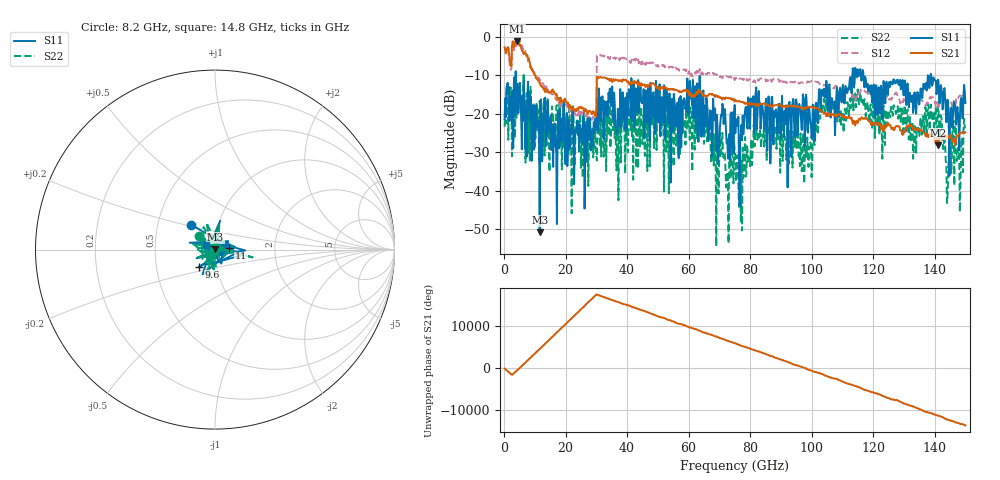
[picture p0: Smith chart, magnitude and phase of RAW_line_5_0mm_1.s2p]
!  2-Port S-parameters saved by WinCal
! VAR MeasName=S-Parameters (CALIBRATED_DATA) read from VNA (MS4647B)
! VAR MeasDate=27-Apr-22 15:17:07
! VAR NAME=RAW_line_5mm_1
! VAR FILENAME=RAW_line_5mm_1.S2P
! VAR DATE=27-Apr-22 15:17:07
! VAR PHYS_PORTS=1,2
! VAR ObjTypeName=DATASET
! VAR IndexType=Frequency
! VAR ChuckHeaterState=Unknown
! VAR ChuckTemp=NaN
! VAR ChuckTempUnits=Unknown
# Hz S RI R 50
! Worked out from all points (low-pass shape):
!   750 points, 200 MHz to 150 GHz, reference 50 ohm
!   highest |S21| = -1.05 dB at 4.2 GHz (marker M1); lowest = -28.3 dB at 141.2 GHz (marker M2)
!   |S21| within 3 dB of the highest: 652.1 MHz to 1.592 GHz (940.2 MHz wide, 83.8 % of centre); 2.537 GHz to 6.245 GHz (3.709 GHz wide, 84.5 % of centre)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
!   lowest |S11| = -50.8 dB at 11.6 GHz (marker M3), VSWR 1.01, Z = 50.2 + j0.174 ohm
!   |S11| at or under -10 dB: 3.827 GHz to 113.2 GHz (109.4 GHz wide, 187 % of centre); 116.9 GHz to 137.8 GHz (20.93 GHz wide, 16.4 % of centre); 138.9 GHz to end of sweep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
!   |S22| runs from -54.5 to -9.4 dB; largest |S21 - S12| = 1.7
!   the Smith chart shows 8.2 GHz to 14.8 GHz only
!   S11 on the Smith chart (normalised r, x): 8.2 GHz: 0.74, +0.21; 9.6 GHz: 0.82, -0.16; 11 GHz: 1.17, +0.02; 14.8 GHz: 0.90, +0.04
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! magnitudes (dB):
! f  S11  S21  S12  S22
! 200 MHz  -21.4  -2.7  -2.6  -23.4
! 4.2 GHz  -12.1  -1.0  -1.7  -12.5
! 8.2 GHz  -14.5  -6.2  -6.4  -18.6
! 9.6 GHz  -17.6  -9.2  -9.1  -25.9
! 11 GHz  -22.0  -10.9  -10.5  -20.2
! 11.6 GHz  -50.8  -12.1  -11.4  -16.6
! 14.8 GHz  -24.8  -14.4  -14.3  -35.1
! 25.2 GHz  -24.0  -18.3  -20.0  -27.4
! 29.4 GHz  -25.1  -19.6  -21.3  -27.2
! 30.8 GHz  -13.4  -10.7  -5.0  -21.1
! 50.2 GHz  -15.7  -13.2  -7.5  -22.5
! 75.2 GHz  -25.1  -16.4  -10.8  -31.1
! 76.8 GHz  -26.1  -16.8  -10.8  -35.1
! 82.4 GHz  -20.7  -17.5  -11.1  -26.8
! 100.2 GHz  -24.3  -18.3  -11.6  -33.4
! 104.4 GHz  -15.8  -19.7  -12.5  -19.4
! 125.2 GHz  -11.7  -22.9  -16.3  -20.0
! 141.2 GHz  -11.2  -28.3  -18.6  -18.0
! 144.2 GHz  -16.3  -25.6  -16.7  -41.6
! 146.4 GHz  -16.9  -27.1  -17.0  -38.7
! 148.6 GHz  -15.9  -25.0  -15.3  -29.0
! 150 GHz  -17.2  -24.8  -15.7  -23.8
